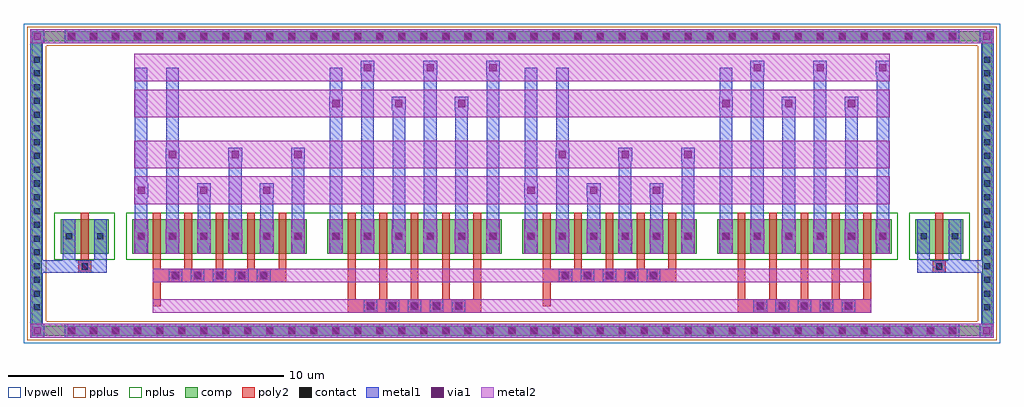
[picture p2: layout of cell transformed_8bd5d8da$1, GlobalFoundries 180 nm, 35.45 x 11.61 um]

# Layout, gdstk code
import gdstk
lib = gdstk.Library(unit=1e-6, precision=5e-09)
def R(c, l, rs):  # rectangles x0, y0, x1, y1
    for r in rs: c.add(gdstk.rectangle(r[:2], r[2:], *l))
def A(c, l, x, y, w, h, nx, ny, dx, dy):  # array of equal rectangles
    R(c, l, [(x+i*dx, y+j*dy, x+i*dx+w, y+j*dy+h) for i in range(nx) for j in range(ny)])
def P(c, l, *ps):  # polygons
    for p in ps: c.add(gdstk.Polygon(p, *l))
comp = (22, 0)
poly2 = (30, 0)
pplus = (31, 0)
nplus = (32, 0)
contact = (33, 0)
metal1 = (34, 0)
via1 = (35, 0)
metal2 = (36, 0)
lvpwell = (204, 0)

unnamed_1b9b8c95_1_1 = lib.new_cell('Unnamed_1b9b8c95$1$1')
A(unnamed_1b9b8c95_1_1, comp, -16.18, -5.525, 0.36, 0.36, 41, 2, 0.8, 10.69)
A(unnamed_1b9b8c95_1_1, comp, -17.445, -4.68, 0.36, 0.36, 1, 19, 0, 0.5)
A(unnamed_1b9b8c95_1_1, comp, 17.085, -4.68, 0.36, 0.36, 1, 19, 0, 0.5)
R(unnamed_1b9b8c95_1_1, comp, [(-16.18,-5.525,16.18,-5.165), (-17.445,-4.68,-17.085,4.68), (17.085,-4.68,17.445,4.68), (-16.18,5.165,16.18,5.525)])
P(unnamed_1b9b8c95_1_1, comp, [(-17.445,-5.525),(-17.445,-5.165),(-17.085,-5.165),(17.085,-5.165),(17.085,5.165),(-17.085,5.165),(-17.085,-5.165),(-17.445,-5.165),(-17.445,5.525),(17.445,5.525),(17.445,-5.525)])
P(unnamed_1b9b8c95_1_1, pplus, [(-17.605,-5.685),(-17.605,-5.005),(-16.925,-5.005),(16.925,-5.005),(16.925,5.005),(-16.925,5.005),(-16.925,-5.005),(-17.605,-5.005),(-17.605,5.685),(17.605,5.685),(17.605,-5.685)])
A(unnamed_1b9b8c95_1_1, contact, -16.11, -5.455, 0.22, 0.22, 41, 2, 0.8, 10.69)
A(unnamed_1b9b8c95_1_1, contact, -17.375, -4.61, 0.22, 0.22, 1, 19, 0, 0.5)
A(unnamed_1b9b8c95_1_1, contact, 17.155, -4.61, 0.22, 0.22, 1, 19, 0, 0.5)
A(unnamed_1b9b8c95_1_1, metal1, -16.25, -5.595, 0.5, 0.5, 41, 2, 0.8, 10.69)
A(unnamed_1b9b8c95_1_1, metal1, -17.495, -4.73, 0.46, 0.46, 1, 19, 0, 0.5)
A(unnamed_1b9b8c95_1_1, metal1, 17.035, -4.73, 0.46, 0.46, 1, 19, 0, 0.5)
R(unnamed_1b9b8c95_1_1, metal1, [(-17.495,-5.595,-16.995,-5.095), (-17.495,-5.595,-16.995,-5.095), (-17.495,-5.595,-17.035,-5.165), (-16.25,-5.595,16.25,-5.095), (16.995,-5.595,17.495,-5.095), (16.995,-5.595,17.495,-5.095), (17.035,-5.595,17.495,-5.165), (-17.495,-5.165,-17.035,5.165), (17.035,-5.165,17.495,5.165), (-17.495,5.095,-16.995,5.595), (-17.495,5.095,-16.995,5.595), (-16.25,5.095,16.25,5.595), (16.995,5.095,17.495,5.595), (16.995,5.095,17.495,5.595), (-17.495,5.165,-17.035,5.595), (17.035,5.165,17.495,5.595)])
A(unnamed_1b9b8c95_1_1, via1, -16.13, -5.475, 0.26, 0.26, 41, 2, 0.8, 10.69)
R(unnamed_1b9b8c95_1_1, via1, [(-17.375,-5.475,-17.115,-5.215), (17.115,-5.475,17.375,-5.215), (-17.375,5.215,-17.115,5.475), (17.115,5.215,17.375,5.475)])
A(unnamed_1b9b8c95_1_1, metal2, -16.25, -5.595, 0.5, 0.5, 41, 2, 0.8, 10.69)
R(unnamed_1b9b8c95_1_1, metal2, [(-17.495,-5.595,-17.085,-5.095), (-17.495,-5.595,-16.995,-5.095), (-17.495,-5.595,-16.995,-5.095), (-17.085,-5.595,17.085,-5.095), (16.995,-5.595,17.495,-5.095), (16.995,-5.595,17.495,-5.095), (17.085,-5.595,17.495,-5.095), (-17.495,5.095,-17.085,5.595), (-17.495,5.095,-16.995,5.595), (-17.495,5.095,-16.995,5.595), (-17.085,5.095,17.085,5.595), (16.995,5.095,17.495,5.595), (16.995,5.095,17.495,5.595), (17.085,5.095,17.495,5.595)])

straight_route_e83e3e31_ = lib.new_cell('straight_route_e83e3e31$1')
R(straight_route_e83e3e31_, metal1, [(-17.495,-3.245,-15.75,-2.785)])

straight_route_326b5450_ = lib.new_cell('straight_route_326b5450$1')
R(straight_route_326b5450_, metal1, [(15.75,-3.245,17.495,-2.785)])

transformed_8bd5d8da_1 = lib.new_cell('transformed_8bd5d8da$1')
A(transformed_8bd5d8da_1, comp, -13.79, -2.545, 6.34, 1.25, 4, 1, 7.08, 0)
R(transformed_8bd5d8da_1, comp, [(-16.39,-2.545,-14.65,-1.295), (14.65,-2.545,16.39,-1.295)])
A(transformed_8bd5d8da_1, poly2, -5.32, -4.63, 0.36, 0.36, 5, 1, 0.8, 0)
A(transformed_8bd5d8da_1, poly2, 8.84, -4.63, 0.36, 0.36, 5, 1, 0.8, 0)
A(transformed_8bd5d8da_1, poly2, -5.96, -4.2, 0.28, 1.415, 5, 1, 1.14, 0)
A(transformed_8bd5d8da_1, poly2, 8.2, -4.2, 0.28, 1.415, 5, 1, 1.14, 0)
A(transformed_8bd5d8da_1, poly2, -12.4, -3.52, 0.36, 0.36, 5, 1, 0.8, 0)
A(transformed_8bd5d8da_1, poly2, 1.76, -3.52, 0.36, 0.36, 5, 1, 0.8, 0)
A(transformed_8bd5d8da_1, poly2, -13.04, -3.09, 0.28, 0.305, 5, 1, 1.14, 0)
A(transformed_8bd5d8da_1, poly2, 1.12, -3.09, 0.28, 0.305, 5, 1, 1.14, 0)
A(transformed_8bd5d8da_1, poly2, -13.04, -2.785, 0.28, 1.73, 5, 1, 1.14, 0)
A(transformed_8bd5d8da_1, poly2, -5.96, -2.785, 0.28, 1.73, 5, 1, 1.14, 0)
A(transformed_8bd5d8da_1, poly2, 1.12, -2.785, 0.28, 1.73, 5, 1, 1.14, 0)
A(transformed_8bd5d8da_1, poly2, 8.2, -2.785, 0.28, 1.73, 5, 1, 1.14, 0)
R(transformed_8bd5d8da_1, poly2, [(-5.96,-4.7,-1.12,-4.2), (8.2,-4.7,13.04,-4.2), (-13.04,-4.45,-12.76,-2.785), (1.12,-4.45,1.4,-2.785), (-13.04,-3.59,-8.2,-3.09), (1.12,-3.59,5.96,-3.09), (-15.75,-3.245,-15.29,-2.785), (15.29,-3.245,15.75,-2.785), (-15.7,-3.195,-15.34,-2.835), (15.34,-3.195,15.7,-2.835), (-15.66,-2.785,-15.38,-1.055), (15.38,-2.785,15.66,-1.055)])
A(transformed_8bd5d8da_1, nplus, -14.02, -2.775, 6.8, 1.71, 4, 1, 7.08, 0)
R(transformed_8bd5d8da_1, nplus, [(-16.62,-2.775,-14.42,-1.065), (-14.02,-2.775,14.02,-1.065), (14.42,-2.775,16.62,-1.065)])
A(transformed_8bd5d8da_1, contact, -5.25, -4.56, 0.22, 0.22, 5, 1, 0.8, 0)
A(transformed_8bd5d8da_1, contact, 8.91, -4.56, 0.22, 0.22, 5, 1, 0.8, 0)
A(transformed_8bd5d8da_1, contact, -12.33, -3.45, 0.22, 0.22, 5, 1, 0.8, 0)
A(transformed_8bd5d8da_1, contact, 1.83, -3.45, 0.22, 0.22, 5, 1, 0.8, 0)
A(transformed_8bd5d8da_1, contact, -13.58, -2.03, 0.22, 0.22, 6, 1, 1.14, 0)
A(transformed_8bd5d8da_1, contact, -6.5, -2.03, 0.22, 0.22, 6, 1, 1.14, 0)
A(transformed_8bd5d8da_1, contact, 0.58, -2.03, 0.22, 0.22, 6, 1, 1.14, 0)
A(transformed_8bd5d8da_1, contact, 7.66, -2.03, 0.22, 0.22, 6, 1, 1.14, 0)
R(transformed_8bd5d8da_1, contact, [(-15.63,-3.125,-15.41,-2.905), (15.41,-3.125,15.63,-2.905), (-16.2,-2.03,-15.98,-1.81), (-15.06,-2.03,-14.84,-1.81), (14.84,-2.03,15.06,-1.81), (15.98,-2.03,16.2,-1.81)])
A(transformed_8bd5d8da_1, metal1, -5.39, -4.7, 0.5, 0.5, 5, 1, 0.8, 0)
A(transformed_8bd5d8da_1, metal1, 8.77, -4.7, 0.5, 0.5, 5, 1, 0.8, 0)
A(transformed_8bd5d8da_1, metal1, -12.47, -3.59, 0.5, 0.5, 5, 1, 0.8, 0)
A(transformed_8bd5d8da_1, metal1, 1.69, -3.59, 0.5, 0.5, 5, 1, 0.8, 0)
A(transformed_8bd5d8da_1, metal1, -13.7, -2.545, 0.46, 1.25, 6, 1, 1.14, 0)
A(transformed_8bd5d8da_1, metal1, -6.62, -2.545, 0.46, 1.25, 6, 1, 1.14, 0)
A(transformed_8bd5d8da_1, metal1, 0.46, -2.545, 0.46, 1.25, 6, 1, 1.14, 0)
A(transformed_8bd5d8da_1, metal1, 7.54, -2.545, 0.46, 1.25, 6, 1, 1.14, 0)
A(transformed_8bd5d8da_1, metal1, -13.7, -2.15, 0.46, 0.46, 6, 1, 1.14, 0)
A(transformed_8bd5d8da_1, metal1, -6.62, -2.15, 0.46, 0.46, 6, 1, 1.14, 0)
A(transformed_8bd5d8da_1, metal1, 0.46, -2.15, 0.46, 0.46, 6, 1, 1.14, 0)
A(transformed_8bd5d8da_1, metal1, 7.54, -2.15, 0.46, 0.46, 6, 1, 1.14, 0)
A(transformed_8bd5d8da_1, metal1, -13.7, -1.295, 0.46, 1.3, 3, 1, 2.28, 0)
A(transformed_8bd5d8da_1, metal1, -12.56, -1.295, 0.46, 2.6, 3, 1, 2.28, 0)
A(transformed_8bd5d8da_1, metal1, -6.62, -1.295, 0.46, 4.45, 3, 1, 2.28, 0)
A(transformed_8bd5d8da_1, metal1, -5.48, -1.295, 0.46, 5.75, 3, 1, 2.28, 0)
A(transformed_8bd5d8da_1, metal1, 0.46, -1.295, 0.46, 1.3, 3, 1, 2.28, 0)
A(transformed_8bd5d8da_1, metal1, 1.6, -1.295, 0.46, 2.6, 3, 1, 2.28, 0)
A(transformed_8bd5d8da_1, metal1, 7.54, -1.295, 0.46, 4.45, 3, 1, 2.28, 0)
A(transformed_8bd5d8da_1, metal1, 8.68, -1.295, 0.46, 5.75, 3, 1, 2.28, 0)
A(transformed_8bd5d8da_1, metal1, -13.72, -0.495, 0.5, 0.5, 3, 1, 2.28, 0)
A(transformed_8bd5d8da_1, metal1, 0.44, -0.495, 0.5, 0.5, 3, 1, 2.28, 0)
A(transformed_8bd5d8da_1, metal1, -12.58, 0.805, 0.5, 0.5, 3, 1, 2.28, 0)
A(transformed_8bd5d8da_1, metal1, 1.58, 0.805, 0.5, 0.5, 3, 1, 2.28, 0)
A(transformed_8bd5d8da_1, metal1, -6.64, 2.655, 0.5, 0.5, 3, 1, 2.28, 0)
A(transformed_8bd5d8da_1, metal1, 7.52, 2.655, 0.5, 0.5, 3, 1, 2.28, 0)
A(transformed_8bd5d8da_1, metal1, -5.5, 3.955, 0.5, 0.5, 3, 1, 2.28, 0)
A(transformed_8bd5d8da_1, metal1, 8.66, 3.955, 0.5, 0.5, 3, 1, 2.28, 0)
R(transformed_8bd5d8da_1, metal1, [(-16.32,-3.245,-15.75,-2.785), (-16.32,-3.245,-15.86,-2.545), (-15.75,-3.245,-15.29,-2.785), (-15.29,-3.245,-14.72,-2.785), (-15.18,-3.245,-14.72,-2.545), (14.72,-3.245,15.29,-2.785), (14.72,-3.245,15.18,-2.545), (15.29,-3.245,15.75,-2.785), (15.75,-3.245,16.32,-2.785), (15.86,-3.245,16.32,-2.545), (-16.32,-2.545,-15.86,-1.295), (-15.18,-2.545,-14.72,-1.295), (14.72,-2.545,15.18,-1.295), (15.86,-2.545,16.32,-1.295), (-13.72,-2.17,-13.22,-1.67), (-13.72,-2.17,-13.22,-1.67), (-12.58,-2.17,-12.08,-1.67), (-12.58,-2.17,-12.08,-1.67), (-11.44,-2.17,-10.94,-1.67), (-11.44,-2.17,-10.94,-1.67), (-10.3,-2.17,-9.8,-1.67), (-10.3,-2.17,-9.8,-1.67), (-9.16,-2.17,-8.66,-1.67), (-9.16,-2.17,-8.66,-1.67), (-8.02,-2.17,-7.52,-1.67), (-8.02,-2.17,-7.52,-1.67), (-6.64,-2.17,-6.14,-1.67), (-6.64,-2.17,-6.14,-1.67), (-5.5,-2.17,-5,-1.67), (-5.5,-2.17,-5,-1.67), (-4.36,-2.17,-3.86,-1.67), (-4.36,-2.17,-3.86,-1.67), (-3.22,-2.17,-2.72,-1.67), (-3.22,-2.17,-2.72,-1.67), (-2.08,-2.17,-1.58,-1.67), (-2.08,-2.17,-1.58,-1.67), (-0.94,-2.17,-0.44,-1.67), (-0.94,-2.17,-0.44,-1.67), (0.44,-2.17,0.94,-1.67), (0.44,-2.17,0.94,-1.67), (1.58,-2.17,2.08,-1.67), (1.58,-2.17,2.08,-1.67), (2.72,-2.17,3.22,-1.67), (2.72,-2.17,3.22,-1.67), (3.86,-2.17,4.36,-1.67), (3.86,-2.17,4.36,-1.67), (5,-2.17,5.5,-1.67), (5,-2.17,5.5,-1.67), (6.14,-2.17,6.64,-1.67), (6.14,-2.17,6.64,-1.67), (7.52,-2.17,8.02,-1.67), (7.52,-2.17,8.02,-1.67), (8.66,-2.17,9.16,-1.67), (8.66,-2.17,9.16,-1.67), (9.8,-2.17,10.3,-1.67), (9.8,-2.17,10.3,-1.67), (10.94,-2.17,11.44,-1.67), (10.94,-2.17,11.44,-1.67), (12.08,-2.17,12.58,-1.67), (12.08,-2.17,12.58,-1.67), (13.22,-2.17,13.72,-1.67), (13.22,-2.17,13.72,-1.67), (-16.32,-2.15,-15.86,-1.69), (-15.18,-2.15,-14.72,-1.69), (14.72,-2.15,15.18,-1.69), (15.86,-2.15,16.32,-1.69), (-13.7,-1.295,-13.24,4.205), (-12.56,-1.295,-12.1,4.205), (-6.62,-1.295,-6.16,4.205), (-5.48,-1.295,-5.02,4.205), (0.46,-1.295,0.92,4.205), (1.6,-1.295,2.06,4.205), (7.54,-1.295,8,4.205), (8.68,-1.295,9.14,4.205)])
A(transformed_8bd5d8da_1, via1, -5.27, -4.58, 0.26, 0.26, 5, 1, 0.8, 0)
A(transformed_8bd5d8da_1, via1, 8.89, -4.58, 0.26, 0.26, 5, 1, 0.8, 0)
A(transformed_8bd5d8da_1, via1, -12.35, -3.47, 0.26, 0.26, 5, 1, 0.8, 0)
A(transformed_8bd5d8da_1, via1, 1.81, -3.47, 0.26, 0.26, 5, 1, 0.8, 0)
A(transformed_8bd5d8da_1, via1, -13.6, -2.05, 0.26, 0.26, 6, 1, 1.14, 0)
A(transformed_8bd5d8da_1, via1, -6.52, -2.05, 0.26, 0.26, 6, 1, 1.14, 0)
A(transformed_8bd5d8da_1, via1, 0.56, -2.05, 0.26, 0.26, 6, 1, 1.14, 0)
A(transformed_8bd5d8da_1, via1, 7.64, -2.05, 0.26, 0.26, 6, 1, 1.14, 0)
A(transformed_8bd5d8da_1, via1, -13.6, -0.375, 0.26, 0.26, 3, 1, 2.28, 0)
A(transformed_8bd5d8da_1, via1, 0.56, -0.375, 0.26, 0.26, 3, 1, 2.28, 0)
A(transformed_8bd5d8da_1, via1, -12.46, 0.925, 0.26, 0.26, 3, 1, 2.28, 0)
A(transformed_8bd5d8da_1, via1, 1.7, 0.925, 0.26, 0.26, 3, 1, 2.28, 0)
A(transformed_8bd5d8da_1, via1, -6.52, 2.775, 0.26, 0.26, 3, 1, 2.28, 0)
A(transformed_8bd5d8da_1, via1, 7.64, 2.775, 0.26, 0.26, 3, 1, 2.28, 0)
A(transformed_8bd5d8da_1, via1, -5.38, 4.075, 0.26, 0.26, 3, 1, 2.28, 0)
A(transformed_8bd5d8da_1, via1, 8.78, 4.075, 0.26, 0.26, 3, 1, 2.28, 0)
A(transformed_8bd5d8da_1, metal2, -5.39, -4.7, 0.5, 0.5, 5, 1, 0.8, 0)
A(transformed_8bd5d8da_1, metal2, 8.77, -4.7, 0.5, 0.5, 5, 1, 0.8, 0)
A(transformed_8bd5d8da_1, metal2, -12.47, -3.59, 0.5, 0.5, 5, 1, 0.8, 0)
A(transformed_8bd5d8da_1, metal2, 1.69, -3.59, 0.5, 0.5, 5, 1, 0.8, 0)
A(transformed_8bd5d8da_1, metal2, -13.72, -2.545, 0.5, 1.25, 6, 1, 1.14, 0)
A(transformed_8bd5d8da_1, metal2, -6.64, -2.545, 0.5, 1.25, 6, 1, 1.14, 0)
A(transformed_8bd5d8da_1, metal2, 0.44, -2.545, 0.5, 1.25, 6, 1, 1.14, 0)
A(transformed_8bd5d8da_1, metal2, 7.52, -2.545, 0.5, 1.25, 6, 1, 1.14, 0)
A(transformed_8bd5d8da_1, metal2, -13.72, -2.17, 0.5, 0.5, 6, 1, 1.14, 0)
A(transformed_8bd5d8da_1, metal2, -6.64, -2.17, 0.5, 0.5, 6, 1, 1.14, 0)
A(transformed_8bd5d8da_1, metal2, 0.44, -2.17, 0.5, 0.5, 6, 1, 1.14, 0)
A(transformed_8bd5d8da_1, metal2, 7.52, -2.17, 0.5, 0.5, 6, 1, 1.14, 0)
A(transformed_8bd5d8da_1, metal2, -13.72, -0.495, 0.5, 0.5, 3, 1, 2.28, 0)
A(transformed_8bd5d8da_1, metal2, 0.44, -0.495, 0.5, 0.5, 3, 1, 2.28, 0)
A(transformed_8bd5d8da_1, metal2, -12.58, 0.805, 0.5, 0.5, 3, 1, 2.28, 0)
A(transformed_8bd5d8da_1, metal2, 1.58, 0.805, 0.5, 0.5, 3, 1, 2.28, 0)
A(transformed_8bd5d8da_1, metal2, -6.64, 2.655, 0.5, 0.5, 3, 1, 2.28, 0)
A(transformed_8bd5d8da_1, metal2, 7.52, 2.655, 0.5, 0.5, 3, 1, 2.28, 0)
A(transformed_8bd5d8da_1, metal2, -5.5, 3.955, 0.5, 0.5, 3, 1, 2.28, 0)
A(transformed_8bd5d8da_1, metal2, 8.66, 3.955, 0.5, 0.5, 3, 1, 2.28, 0)
R(transformed_8bd5d8da_1, metal2, [(-13.04,-4.7,13.04,-4.2), (-5.96,-4.7,-1.12,-4.2), (8.2,-4.7,13.04,-4.2), (-13.04,-3.59,13.04,-3.09), (-13.04,-3.59,-8.2,-3.09), (1.12,-3.59,5.96,-3.09), (-13.72,-0.745,-7.52,0.255), (-13.72,-0.745,13.72,0.255), (0.44,-0.745,6.64,0.255), (-13.72,0.555,-7.52,1.555), (-13.72,0.555,13.72,1.555), (0.44,0.555,6.64,1.555), (-13.72,2.405,13.72,3.405), (-6.64,2.405,-0.44,3.405), (7.52,2.405,13.72,3.405), (-13.72,3.705,13.72,4.705), (-6.64,3.705,-0.44,4.705), (7.52,3.705,13.72,4.705)])
R(transformed_8bd5d8da_1, lvpwell, [(-17.725,-5.805,17.725,5.805)])
transformed_8bd5d8da_1.add(gdstk.Reference(unnamed_1b9b8c95_1_1, (0,0)))
transformed_8bd5d8da_1.add(gdstk.Reference(straight_route_e83e3e31_, (0,0)))
transformed_8bd5d8da_1.add(gdstk.Reference(straight_route_326b5450_, (0,0)))

lib.write_gds('transformed_8bd5d8da_1.gds')
